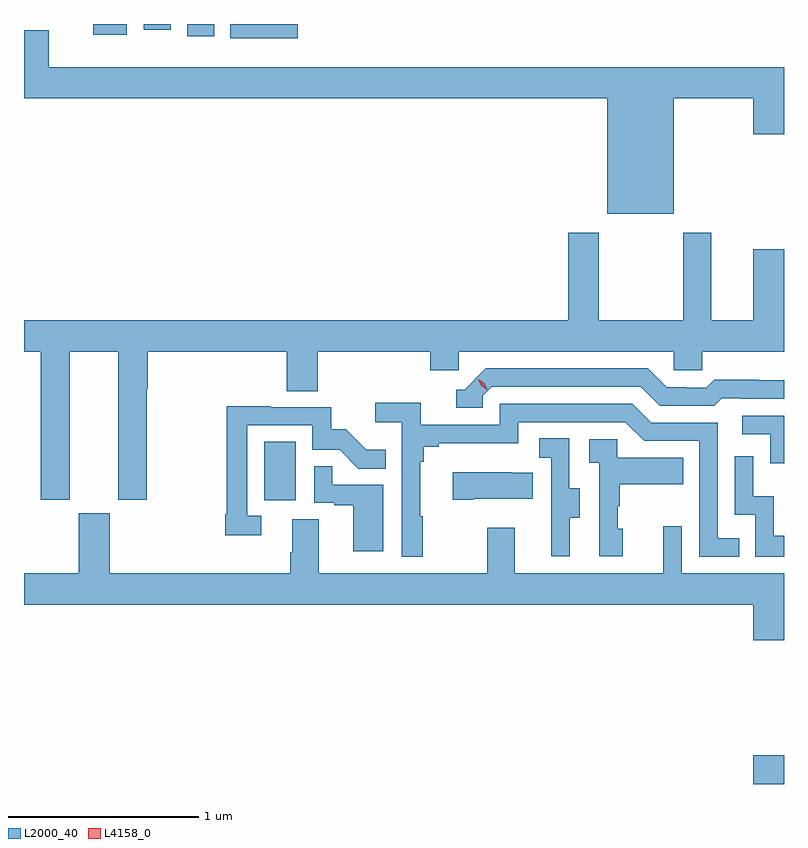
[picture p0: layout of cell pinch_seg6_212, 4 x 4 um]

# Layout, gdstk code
import gdstk
lib = gdstk.Library(unit=1e-6, precision=1e-09)
def R(c, l, rs):  # rectangles x0, y0, x1, y1
    for r in rs: c.add(gdstk.rectangle(r[:2], r[2:], *l))
def P(c, l, *ps):  # polygons
    for p in ps: c.add(gdstk.Polygon(p, *l))
L2000_40 = (2000, 40)
L4158_0 = (4158, 0)

pinch_seg6_212 = lib.new_cell('pinch_seg6_212')
R(pinch_seg6_212, L2000_40, [(1028.144,919.752,1028.305,919.903), (1025.57,921.246,1025.734,921.553), (1025.391,923.678,1025.747,923.752), (1025.165,923.688,1025.305,923.752), (1024.67,923.696,1024.846,923.752), (1024.934,923.721,1025.077,923.752)])
P(pinch_seg6_212, L2000_40, [(1027.726,923.36),(1028.144,923.36),(1028.144,923.172),(1028.305,923.172),(1028.305,923.524),(1024.435,923.524),(1024.435,923.719),(1024.305,923.719),(1024.305,923.36),(1027.376,923.36),(1027.376,922.754),(1027.726,922.754)],
  [(1024.305,922.028),(1024.394,922.028),(1024.394,921.249),(1024.546,921.249),(1024.546,922.028),(1024.802,922.028),(1024.802,921.249),(1024.95,921.249),(1024.95,921.832),(1024.955,921.832),(1024.955,922.028),(1025.687,922.028),(1025.687,921.82),(1025.852,921.82),(1025.852,922.028),(1026.443,922.028),(1026.443,921.93),(1026.594,921.93),(1026.594,922.028),(1027.725,922.028),(1027.725,921.93),(1027.875,921.93),(1027.875,922.028),(1028.305,922.028),(1028.305,922.567),(1028.144,922.567),(1028.144,922.192),(1027.921,922.192),(1027.921,922.654),(1027.774,922.654),(1027.774,922.192),(1027.329,922.192),(1027.329,922.654),(1027.169,922.654),(1027.169,922.192),(1024.305,922.192)],
  [(1026.72,921.795),(1026.768,921.843),(1027.551,921.843),(1027.65,921.744),(1027.939,921.744),(1027.978,921.783),(1028.077,921.783),(1028.077,921.78),(1028.305,921.78),(1028.305,921.877),(1028.172,921.877),(1028.172,921.88),(1027.939,921.88),(1027.897,921.837),(1027.794,921.837),(1027.794,921.84),(1027.687,921.84),(1027.588,921.939),(1026.735,921.939),(1026.624,921.828),(1026.581,921.828),(1026.581,921.732),(1026.72,921.732)],
  [(1026.403,921.161),(1026.391,921.161),(1026.391,921.449),(1026.41,921.449),(1026.41,921.526),(1026.487,921.526),(1026.487,921.545),(1026.906,921.545),(1026.906,921.657),(1027.47,921.657),(1027.569,921.558),(1027.86,921.558),(1027.86,920.949),(1028.069,920.949),(1028.069,921.045),(1027.956,921.045),(1027.956,921.654),(1027.606,921.654),(1027.507,921.753),(1026.81,921.753),(1026.81,921.642),(1026.392,921.642),(1026.392,921.758),(1026.153,921.758),(1026.153,921.656),(1026.294,921.656),(1026.294,920.949),(1026.403,920.949)],
  [(1025.554,921.165),(1025.481,921.165),(1025.481,921.639),(1025.823,921.639),(1025.823,921.51),(1025.967,921.51),(1026.065,921.412),(1026.209,921.412),(1026.209,921.511),(1026.105,921.511),(1025.998,921.618),(1025.922,921.618),(1025.922,921.735),(1025.603,921.735),(1025.603,921.74),(1025.373,921.74),(1025.373,921.172),(1025.365,921.172),(1025.365,921.06),(1025.554,921.06)],
  [(1028.305,921.69),(1028.085,921.69),(1028.085,921.594),(1028.232,921.594),(1028.232,921.441),(1028.305,921.441)],
  [(1027.177,921.154),(1027.231,921.154),(1027.231,921.309),(1027.176,921.309),(1027.176,921.572),(1027.017,921.572),(1027.017,921.469),(1027.08,921.469),(1027.08,921.165),(1027.079,921.165),(1027.079,920.952),(1027.177,920.952)],
  [(1027.456,921.096),(1027.43,921.096),(1027.43,921.215),(1027.441,921.215),(1027.441,921.329),(1027.775,921.329),(1027.775,921.469),(1027.428,921.469),(1027.428,921.567),(1027.281,921.567),(1027.281,921.443),(1027.332,921.443),(1027.332,920.952),(1027.456,920.952)],
  [(1028.305,921.058),(1028.252,921.058),(1028.252,921.266),(1028.142,921.266),(1028.142,921.478),(1028.046,921.478),(1028.046,921.168),(1028.154,921.168),(1028.154,920.949),(1028.305,920.949)],
  [(1026.196,921.327),(1025.927,921.327),(1025.927,921.425),(1025.832,921.425),(1025.832,921.231),(1025.939,921.231),(1025.939,921.219),(1026.038,921.219),(1026.038,920.976),(1026.196,920.976)],
  [(1026.673,921.254),(1026.983,921.254),(1026.983,921.391),(1026.875,921.391),(1026.875,921.394),(1026.561,921.394),(1026.561,921.247),(1026.673,921.247)],
  [(1028.305,920.86),(1027.767,920.86),(1027.767,921.109),(1027.67,921.109),(1027.67,920.86),(1026.889,920.86),(1026.889,921.1),(1026.742,921.1),(1026.742,920.86),(1025.857,920.86),(1025.857,921.146),(1025.717,921.146),(1025.717,920.972),(1025.705,920.972),(1025.705,920.86),(1024.756,920.86),(1024.756,921.177),(1024.592,921.177),(1024.592,920.86),(1024.305,920.86),(1024.305,920.696),(1028.144,920.696),(1028.144,920.508),(1028.305,920.508)])
P(pinch_seg6_212, L4158_0, [(1026.743,921.828),(1026.712,921.848),(1026.696,921.88),(1026.696,921.881),(1026.696,921.881),(1026.727,921.861),(1026.744,921.829),(1026.744,921.828)])

lib.write_gds('pinch_seg6_212.gds')
